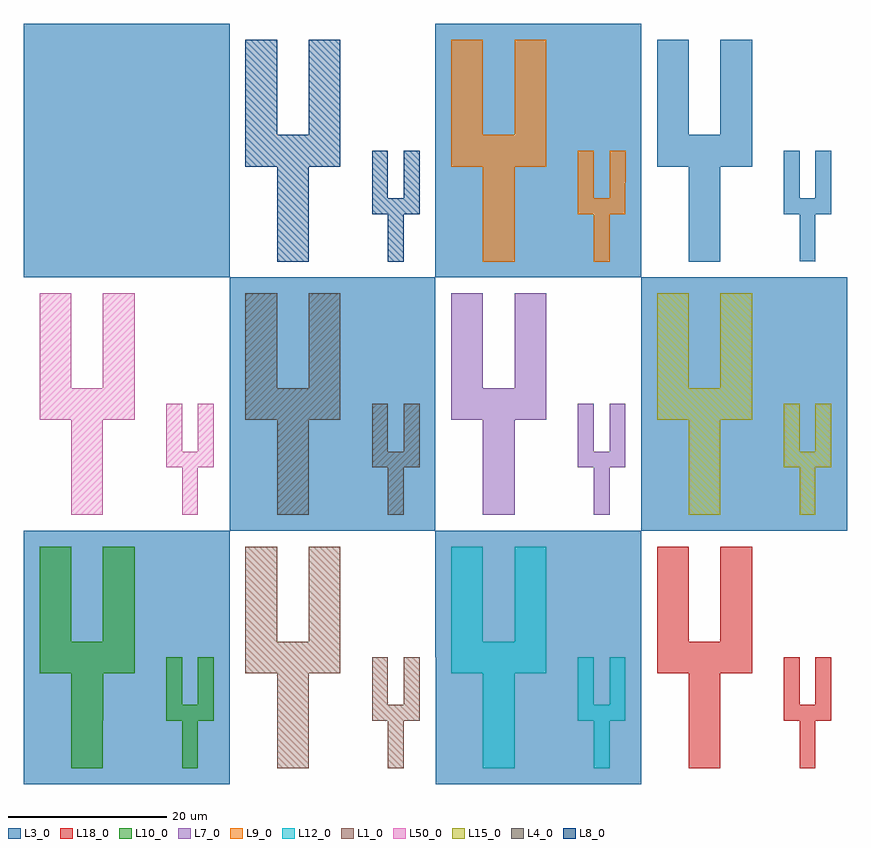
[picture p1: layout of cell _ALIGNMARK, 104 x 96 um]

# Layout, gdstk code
import gdstk
lib = gdstk.Library(unit=1e-6, precision=1e-09)
def R(c, l, rs):  # rectangles x0, y0, x1, y1
    for r in rs: c.add(gdstk.rectangle(r[:2], r[2:], *l))
def P(c, l, *ps):  # polygons
    for p in ps: c.add(gdstk.Polygon(p, *l))
L1_0 = (1, 0)
L3_0 = (3, 0)
L4_0 = (4, 0)
L7_0 = (7, 0)
L8_0 = (8, 0)
L9_0 = (9, 0)
L10_0 = (10, 0)
L12_0 = (12, 0)
L15_0 = (15, 0)
L18_0 = (18, 0)
L50_0 = (50, 0)

c__alignmark = lib.new_cell('_ALIGNMARK')
P(c__alignmark, L1_0, [(46,2),(46,8),(44,8),(44,16),(46,16),(46,10),(48,10),(48,16),(50,16),(50,8),(48,8),(48,2)],
  [(32,2),(32,14),(27.999,14),(28,30),(32,30),(31.999,18),(36,18),(36,30),(40,30),(40,14),(36,14),(36,2)])
R(c__alignmark, L3_0, [(26,32,52,64), (0,64,26,96), (52,64,78,96), (96,72,98,80)])
P(c__alignmark, L3_0, [(52.001,0),(52,32),(78,32),(78,0)],
  [(0,0),(0,31.999),(26,32),(26,0)],
  [(78,32),(78,64),(104,64),(104.001,32)],
  [(100,66),(98,66.001),(98,73.999),(100,74)],
  [(100,72),(100,80),(101.999,80),(102,72)],
  [(84,66),(84,82),(88,82),(87.999,66)],
  [(88,78),(87.999,94),(92,94),(92,78)],
  [(80,78),(80.001,94),(84,94),(84,78)])
P(c__alignmark, L4_0, [(46,34.001),(46,40),(44,40),(44,48),(46,48),(45.999,42),(48.001,42),(48,48),(50,48),(50,40),(48,40),(48,34.001)],
  [(32,34),(32,45.999),(28,46),(28,62.001),(32,62),(32,50),(36,50),(36,62),(40,62),(40,46),(36,46),(36,34)])
P(c__alignmark, L7_0, [(72,34),(72,40),(70,40),(70,48.001),(72,48),(72,42),(73.999,42),(74,48),(76,48),(76,40),(74,40),(74,34.001)],
  [(58,34),(58,46),(54,46),(54,62),(58,62),(58,50),(62,50),(62,62),(66,62.001),(66,46),(62.001,46),(62,34)])
P(c__alignmark, L8_0, [(46,66),(46,72),(44,72),(44,80),(45.999,80),(46,74),(48,74),(48.001,80),(50,80),(50,72),(48,72),(48,66)],
  [(31.999,66),(32,78),(28,78),(28,94),(31.999,94),(32,82),(36,82),(36,94),(40,94),(40,78),(36,78),(36,66)])
P(c__alignmark, L9_0, [(72,66),(72,72),(70,72),(70,80),(72,80),(72,74),(74,74),(73.999,80),(76.001,80),(76,72),(74,72),(74,66)],
  [(58,66),(58,78),(54,78),(54,94),(58,94),(58,82),(62,82),(62.001,94),(66,94),(66,78),(62,78),(62.001,66)])
P(c__alignmark, L10_0, [(20,2),(20,8),(18,8),(18,16),(20,16),(20,10),(22,10),(22,16),(24,16),(24,7.999),(22,8),(22,2)],
  [(6,2),(6,14),(2,14),(2,30),(6,30),(6.001,18),(10,18),(10,30),(14,30),(14,14),(10.001,14),(10,2)])
P(c__alignmark, L12_0, [(72,2),(72,8),(70,7.999),(70,16),(72,16),(72,10),(74,10),(74,16),(76,16),(76,8),(74,8),(74,2)],
  [(58,2),(58,14),(54,14),(54,30),(58,30),(58,18),(62.001,18),(62,30),(66,30),(66.001,14),(62,14),(62,2)])
P(c__alignmark, L15_0, [(98,34),(98,40),(96,40),(96,48),(98,48.001),(98,42),(100,42),(100,48),(102,48),(102,40),(100,40),(100,34)],
  [(88,34),(84,34.001),(84,46),(80,45.999),(80,62),(84,62.001),(84,50),(88,50),(88,62),(92,62),(92,46),(87.999,46)])
P(c__alignmark, L18_0, [(98,2),(98,7.999),(96,8),(96,16),(98,16),(98,10.001),(100,10),(100,16),(102,16),(102,8),(100,8),(100,2)],
  [(84,2),(83.999,14),(80,14),(80,30),(84,30),(84,18),(87.999,18),(88,30),(92,30),(92,14),(88,14),(88,2)])
P(c__alignmark, L50_0, [(20.001,34),(20,40),(18,40),(18,48),(20,48),(20.001,42),(22,42),(22,48),(24,48.001),(24,40),(22,40),(22,34)],
  [(6,34),(6.001,46),(2,46),(2,62),(6,62),(6,50),(10,50),(10,62.001),(14,62),(14,45.999),(10,46),(10,34.001)])

lib.write_gds('_ALIGNMARK.gds')
